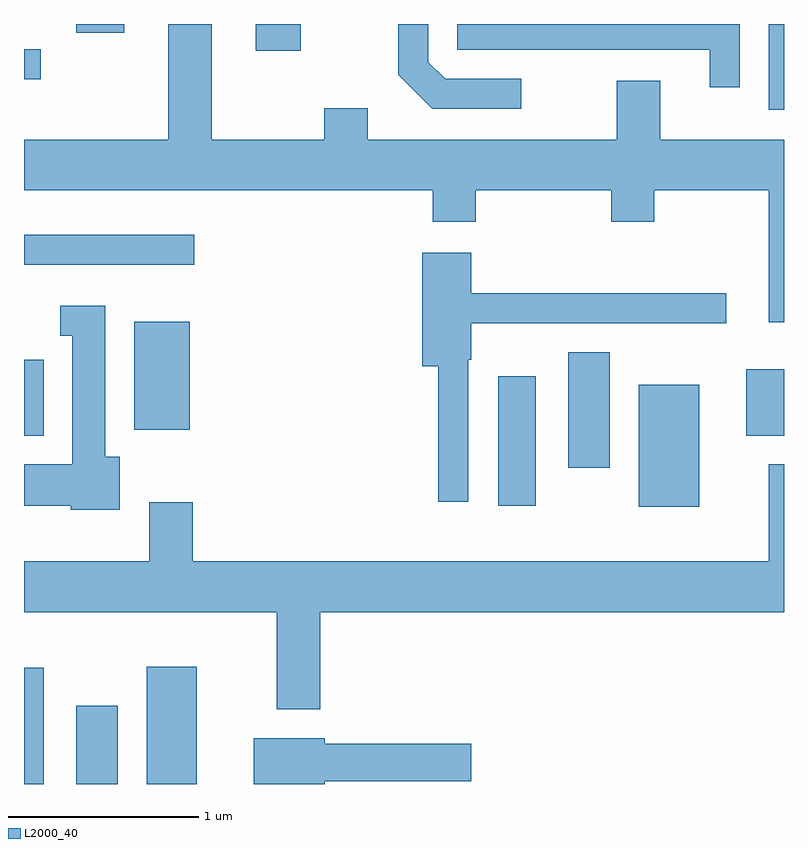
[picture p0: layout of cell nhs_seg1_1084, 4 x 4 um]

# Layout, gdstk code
import gdstk
lib = gdstk.Library(unit=1e-6, precision=1e-09)
def R(c, l, rs):  # rectangles x0, y0, x1, y1
    for r in rs: c.add(gdstk.rectangle(r[:2], r[2:], *l))
def P(c, l, *ps):  # polygons
    for p in ps: c.add(gdstk.Polygon(p, *l))
L2000_40 = (2000, 40)

nhs_seg1_1084 = lib.new_cell('nhs_seg1_1084')
R(nhs_seg1_1084, L2000_40, [(217.611,969.712,217.714,970.324), (217.886,969.712,218.104,970.124), (218.256,969.712,218.519,970.329), (220.846,971.171,221.164,971.814), (220.106,971.176,220.304,971.859), (220.476,971.376,220.694,971.984), (217.611,971.546,217.714,971.944), (221.411,971.546,221.611,971.894), (218.191,971.576,218.484,972.144), (217.611,972.446,218.508,972.604), (221.531,973.261,221.611,973.712), (217.611,973.421,217.698,973.579), (218.831,973.571,219.068,973.712), (217.886,973.666,218.139,973.712)])
P(nhs_seg1_1084, L2000_40, [(221.379,973.712),(219.891,973.712),(219.891,973.576),(221.221,973.576),(221.221,973.378),(221.379,973.378)],
  [(221.611,973.104),(220.959,973.104),(220.959,973.414),(220.731,973.414),(220.731,973.104),(219.419,973.104),(219.419,973.269),(219.191,973.269),(219.191,973.104),(218.599,973.104),(218.599,973.712),(218.371,973.712),(218.371,973.104),(217.611,973.104),(217.611,972.836),(219.761,972.836),(219.761,972.671),(219.989,972.671),(219.989,972.836),(220.701,972.836),(220.701,972.671),(220.929,972.671),(220.929,972.836),(221.531,972.836),(221.531,972.141),(221.611,972.141)],
  [(220.228,973.424),(219.827,973.424),(219.739,973.512),(219.739,973.712),(219.581,973.712),(219.581,973.444),(219.759,973.266),(220.228,973.266)],
  [(219.949,971.945),(219.964,971.945),(219.964,972.136),(221.308,972.136),(221.308,972.294),(219.964,972.294),(219.964,972.509),(219.706,972.509),(219.706,971.911),(219.791,971.911),(219.791,971.198),(219.949,971.198)],
  [(218.114,971.434),(218.039,971.434),(218.039,972.229),(217.803,972.229),(217.803,972.071),(217.866,972.071),(217.866,971.394),(217.611,971.394),(217.611,971.176),(217.856,971.176),(217.856,971.156),(218.114,971.156)],
  [(219.169,970.616),(221.611,970.616),(221.611,971.394),(221.531,971.394),(221.531,970.884),(218.499,970.884),(218.499,971.194),(218.271,971.194),(218.271,970.884),(217.611,970.884),(217.611,970.616),(218.941,970.616),(218.941,970.106),(219.169,970.106)],
  [(219.194,969.726),(219.964,969.726),(219.964,969.924),(219.194,969.924),(219.194,969.954),(218.821,969.954),(218.821,969.712),(219.194,969.712)])

lib.write_gds('nhs_seg1_1084.gds')
